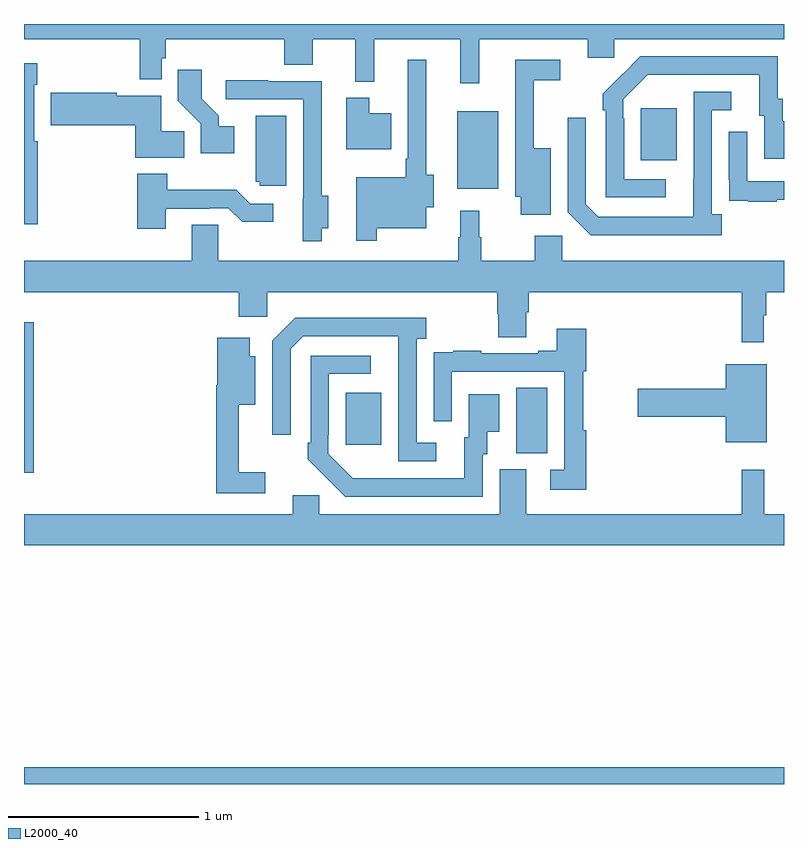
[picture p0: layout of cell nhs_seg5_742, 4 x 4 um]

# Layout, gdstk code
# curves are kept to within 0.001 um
import gdstk
lib = gdstk.Library(unit=1e-6, precision=1e-09)
def R(c, l, rs):  # rectangles x0, y0, x1, y1
    for r in rs: c.add(gdstk.rectangle(r[:2], r[2:], *l))
def P(c, l, *ps):  # polygons
    for p in ps: c.add(gdstk.Polygon(p, *l))
L2000_40 = (2000, 40)

nhs_seg5_742 = lib.new_cell('nhs_seg5_742')
R(nhs_seg5_742, L2000_40, [(157,892.799,161,892.888), (157,894.437,157.051,895.228), (159.59,894.541,159.754,894.884), (158.693,894.585,158.881,894.859), (159.281,895.931,159.496,896.341), (160.247,896.081,160.435,896.356)])
P(nhs_seg5_742, L2000_40, [(159.395,896.72),(159.968,896.72),(159.968,896.622),(160.107,896.622),(160.107,896.72),(161,896.72),(161,896.799),(157,896.799),(157,896.72),(157.609,896.72),(157.609,896.507),(157.725,896.507),(157.725,896.619),(157.745,896.619),(157.745,896.72),(158.369,896.72),(158.369,896.584),(158.521,896.584),(158.521,896.72),(158.744,896.72),(158.744,896.495),(158.843,896.495),(158.843,896.72),(159.296,896.72),(159.296,896.487),(159.395,896.487)],
  [(160.378,895.983),(160.158,895.983),(160.158,896.303),(160.155,896.303),(160.155,896.403),(160.284,896.532),(160.871,896.532),(160.871,896.316),(160.895,896.316),(160.895,896.091),(161,896.091),(161,896.287),(160.993,896.287),(160.993,896.406),(160.968,896.406),(160.968,896.628),(160.244,896.628),(160.047,896.433),(160.047,896.345),(160.062,896.345),(160.062,895.887),(160.378,895.887)],
  [(158.857,895.724),(159.118,895.724),(159.118,895.835),(159.157,895.835),(159.157,896.006),(159.118,896.006),(159.118,896.611),(159.021,896.611),(159.021,896.089),(159.009,896.089),(159.009,895.993),(158.748,895.993),(158.748,895.659),(158.857,895.659)],
  [(159.772,896.146),(159.683,896.146),(159.683,896.502),(159.823,896.502),(159.823,896.61),(159.585,896.61),(159.585,895.889),(159.614,895.889),(159.614,895.794),(159.772,895.794)],
  [(157.073,896.183),(157.053,896.183),(157.053,896.48),(157.071,896.48),(157.071,896.593),(157,896.593),(157,895.746),(157.073,895.746)],
  [(158.107,896.26),(158.026,896.26),(158.026,896.315),(157.936,896.405),(157.936,896.557),(157.81,896.557),(157.81,896.394),(157.929,896.275),(157.929,896.12),(158.107,896.12)],
  [(158.567,895.724),(158.602,895.724),(158.602,895.895),(158.566,895.895),(158.566,896.499),(158.285,896.499),(158.285,896.502),(158.061,896.502),(158.061,896.403),(158.469,896.403),(158.469,895.878),(158.468,895.878),(158.468,895.656),(158.567,895.656)],
  [(160.672,895.798),(160.62,895.798),(160.62,896.346),(160.723,896.346),(160.723,896.442),(160.524,896.442),(160.523,895.785),(160.023,895.785),(159.957,895.851),(159.957,896.305),(159.861,896.305),(159.861,895.809),(159.982,895.688),(160.672,895.688)],
  [(157.844,896.234),(157.723,896.234),(157.723,896.422),(157.488,896.422),(157.488,896.437),(157.14,896.437),(157.14,896.267),(157.586,896.267),(157.586,896.096),(157.844,896.096)],
  [(158.932,896.329),(158.818,896.329),(158.818,896.41),(158.696,896.41),(158.696,896.141),(158.932,896.141)],
  [(158.38,896.317),(158.219,896.317),(158.219,895.968),(158.241,895.968),(158.241,895.947),(158.38,895.947)],
  [(160.961,895.875),(161,895.875),(161,895.971),(160.806,895.971),(160.806,896.233),(160.71,896.233),(160.71,895.978),(160.711,895.978),(160.711,895.869),(160.813,895.869),(160.813,895.863),(160.961,895.863)],
  [(157.747,895.827),(157.976,895.827),(157.976,895.83),(158.076,895.83),(158.149,895.757),(158.311,895.757),(158.311,895.854),(158.19,895.854),(158.117,895.927),(157.755,895.927),(157.755,896.011),(157.595,896.011),(157.595,895.722),(157.747,895.722)],
  [(160.894,895.265),(160.906,895.265),(160.906,895.388),(161,895.388),(161,895.552),(159.834,895.552),(159.834,895.684),(159.688,895.684),(159.688,895.552),(159.406,895.552),(159.406,895.676),(159.396,895.676),(159.396,895.816),(159.296,895.816),(159.296,895.676),(159.285,895.676),(159.285,895.552),(158.022,895.552),(158.022,895.742),(157.883,895.742),(157.883,895.552),(157,895.552),(157,895.388),(158.129,895.388),(158.129,895.257),(158.28,895.257),(158.28,895.388),(159.491,895.388),(159.491,895.275),(159.496,895.275),(159.496,895.15),(159.643,895.15),(159.643,895.282),(159.656,895.282),(159.656,895.388),(160.777,895.388),(160.777,895.125),(160.894,895.125)],
  [(159.169,894.594),(159.066,894.594),(159.066,895.142),(159.118,895.142),(159.118,895.252),(158.428,895.252),(158.307,895.131),(158.307,894.636),(158.403,894.636),(158.403,895.089),(158.469,895.155),(158.969,895.155),(158.97,894.498),(159.169,894.498)],
  [(159.959,894.66),(159.944,894.66),(159.944,894.972),(159.959,894.972),(159.959,895.195),(159.803,895.195),(159.803,895.078),(159.707,895.078),(159.707,895.065),(159.407,895.065),(159.407,895.078),(159.259,895.078),(159.259,895.071),(159.157,895.071),(159.157,894.962),(159.156,894.962),(159.156,894.708),(159.252,894.708),(159.252,894.969),(159.843,894.969),(159.843,894.453),(159.771,894.453),(159.771,894.348),(159.959,894.348)],
  [(158.269,894.439),(158.129,894.439),(158.129,894.794),(158.218,894.794),(158.218,895.051),(158.188,895.051),(158.188,895.147),(158.018,895.147),(158.018,894.898),(158.011,894.898),(158.011,894.33),(158.269,894.33)],
  [(159.414,894.534),(159.439,894.534),(159.439,894.653),(159.502,894.653),(159.502,894.85),(159.341,894.85),(159.341,894.624),(159.317,894.624),(159.317,894.408),(158.73,894.409),(158.601,894.537),(158.601,894.637),(158.604,894.637),(158.604,894.957),(158.824,894.957),(158.824,895.053),(158.508,895.053),(158.508,894.595),(158.493,894.595),(158.493,894.507),(158.69,894.312),(159.414,894.312)],
  [(160.909,895.009),(160.694,895.009),(160.694,894.878),(160.23,894.878),(160.23,894.731),(160.694,894.731),(160.694,894.599),(160.909,894.599)],
  [(161,894.22),(160.895,894.22),(160.895,894.454),(160.777,894.454),(160.777,894.22),(159.643,894.22),(159.643,894.456),(159.503,894.456),(159.503,894.22),(158.553,894.22),(158.553,894.318),(158.414,894.318),(158.414,894.22),(157,894.22),(157,894.056),(161,894.056)])

lib.write_gds('nhs_seg5_742.gds')
